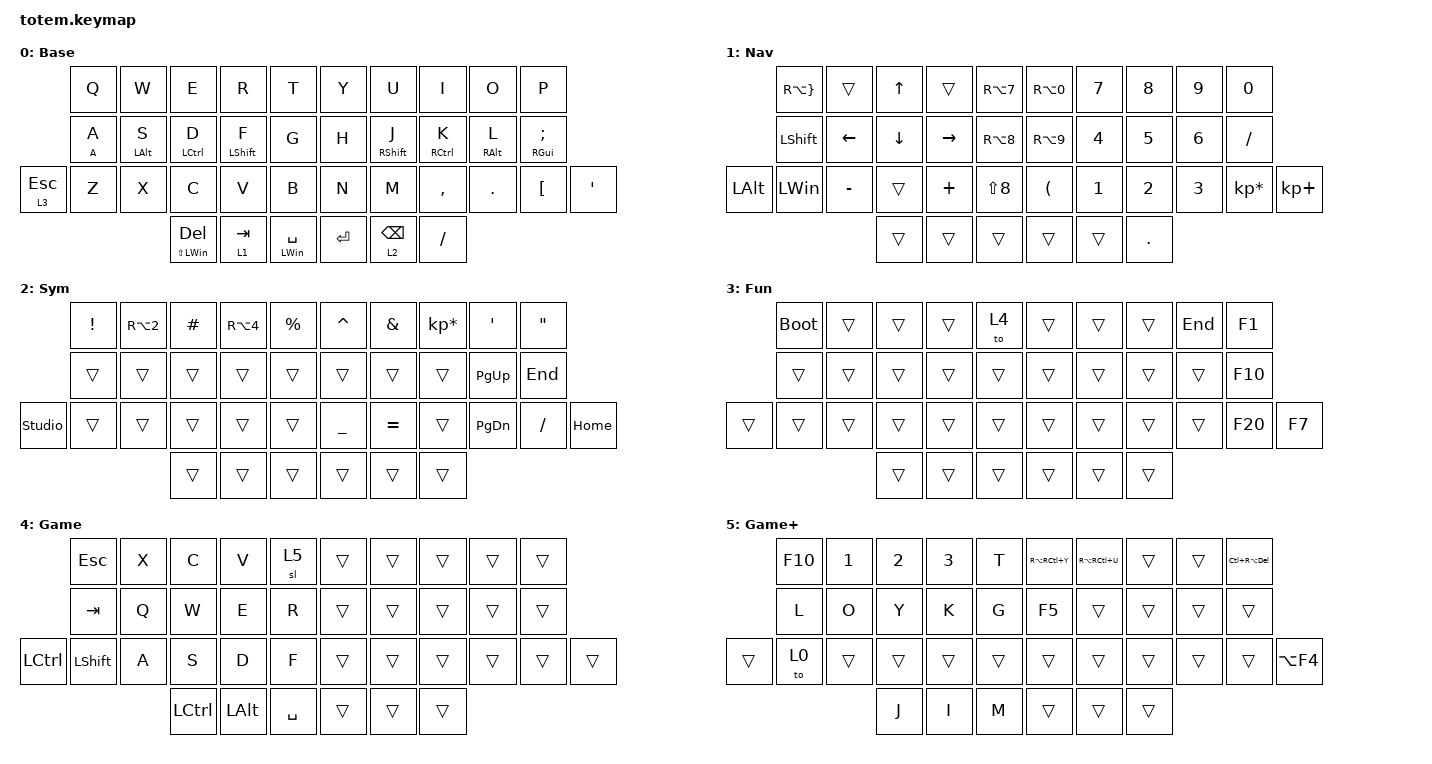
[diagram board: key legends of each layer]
//
//                                                        ▀▀▀▀▀     ▀▀▀▀▀          ▀▀█▀▀
//                                                        ▄▀▀▀▄  ▄  ▄▀▀▀▄  ▄  ▄▀▀▀▄  █  ▄▀▀▀▄
//                                                        █   █  █  █   █  █  █   █  █  █   █
//                                                         ▀▀▀   █   ▀▀▀   █   ▀▀▀   ▀   ▀▀▀
//                                                               █      ▄▄▄█▄▄▄    █   █  
//                                                               ▀      █  █  █     █▄█
//                                                             ▀▀▀▀▀    █  █  █      ▀
//                                                                      ▀  ▀  ▀
//
// ▄▄▄▄▄▄▄▄▄▄▄▄▄▄▄▄▄▄▄▄▄▄▄▄▄▄▄▄▄▄▄▄▄▄▄▄▄▄▄▄▄▄▄▄▄▄▄▄▄▄▄▄▄▄▄▄▄▄▄▄▄▄▄▄▄▄▄▄▄▄▄▄▄▄▄▄▄▄▄▄▄▄▄▄▄▄▄▄▄▄▄▄▄▄▄▄▄▄▄▄▄▄▄▄▄▄▄▄▄▄▄▄▄▄▄▄▄▄▄▄▄▄▄▄▄▄▄▄▄▄▄▄▄▄▄▄▄▄▄▄▄▄▄▄▄▄▄▄▄

#include <behaviors.dtsi>
#include <dt-bindings/zmk/keys.h>

#define Base        0
#define Nav         1
#define Sym         2
#define Fun         3
#define Game        4
#define Gameplus    5

&mt {
    quick-tap-ms = <100>;
    global-quick-tap;
    flavor = "tap-preferred";
    tapping-term-ms = <170>;
};

&lt {
    tapping-term-ms = <240>;
    flavor = "balanced";
    quick-tap-ms = <150>;
};

/ {
    behaviors {
        hm: homerow_mods {
            compatible = "zmk,behavior-hold-tap";
            label = "HOMEROW_MODS";
            #binding-cells = <2>;
            flavor = "tap-preferred";
            tapping-term-ms = <400>;
            quick-tap-ms = <125>;
            global-quick-tap;
            bindings = <&kp>, <&kp>;
        };
    };

    combos { compatible = "zmk,combos"; };

    keymap {
        compatible = "zmk,keymap";

        Base {
            display-name = "Base";
            bindings = <
              &kp Q    &kp W       &kp E                 &kp R         &kp T                 &kp Y    &kp U        &kp I        &kp O       &kp P
              &hm A A  &hm LALT S  &hm LCTRL D           &hm LSHIFT F  &kp G                 &kp H    &hm RSHFT J  &hm RCTRL K  &hm RALT L  &hm RGUI SEMICOLON
&lt 3 ESCAPE  &kp Z    &kp X       &kp C                 &kp V         &kp B                 &kp N    &kp M        &kp COMMA    &kp DOT     &kp LEFT_BRACKET    &kp SINGLE_QUOTE
                                   &mt LS(LEFT_WIN) DEL  &lt 1 TAB     &hm LEFT_WIN SPACE    &kp RET  &lt 2 BSPC   &kp SLASH
            >;
        };

        Nav {
            display-name = "Nav";
            bindings = <
              &kp RA(RBRC)    &trans     &kp UP_ARROW  &trans     &kp RA(N7)    &kp RA(N0)            &kp NUMBER_7  &kp NUMBER_8  &kp NUMBER_9  &kp NUMBER_0
              &kp LEFT_SHIFT  &kp LEFT   &kp DOWN      &kp RIGHT  &kp RA(N8)    &kp RA(N9)            &kp NUMBER_4  &kp NUMBER_5  &kp NUMBER_6  &kp SLASH
&kp LEFT_ALT  &kp LEFT_WIN    &kp MINUS  &trans        &kp PLUS   &kp LS(N8)    &kp LEFT_PARENTHESIS  &kp NUMBER_1  &kp NUMBER_2  &kp NUMBER_3  &kp KP_MULTIPLY  &kp KP_PLUS
                                         &trans        &trans     &trans        &trans                &trans        &kp DOT
            >;
        };

        Sym {
            display-name = "Sym";
            bindings = <
                &kp EXCL  &kp RA(N2)  &kp HASH  &kp RA(N4)  &kp PERCENT    &kp CARET  &kp AMPERSAND  &kp KP_ASTERISK  &kp SQT       &kp DQT
                &trans    &trans      &trans    &trans      &trans         &trans     &trans         &trans           &kp PAGE_UP   &kp END
&studio_unlock  &trans    &trans      &trans    &trans      &trans         &kp UNDER  &kp EQUAL      &trans           &kp PAGE_DOWN  &kp SLASH   &kp HOME
                                      &trans    &trans      &trans         &trans     &trans         &trans
            >;
        };

        Fun {
            display-name = "Fun";
            bindings = <
        &bootloader  &trans  &trans  &trans  &to 4     &trans  &trans  &trans  &kp END  &kp F1
        &trans       &trans  &trans  &trans  &trans    &trans  &trans  &trans  &trans   &kp F10
&trans  &trans       &trans  &trans  &trans  &trans    &trans  &trans  &trans  &trans   &kp F20  &kp F7
                             &trans  &trans  &trans    &trans  &trans  &trans
            >;
        };

        Gaming {
            display-name = "Game";
            bindings = <
           &kp ESC         &kp X  &kp C      &kp V         &sl 5        &trans  &trans  &trans  &trans  &trans
           &kp TAB         &kp Q  &kp W      &kp E         &kp R        &trans  &trans  &trans  &trans  &trans
&kp LCTRL  &kp LEFT_SHIFT  &kp A  &kp S      &kp D         &kp F        &trans  &trans  &trans  &trans  &trans  &trans
                                  &kp LCTRL  &kp LEFT_ALT  &kp SPACE    &trans  &trans  &trans
            >;
        };

        Gaming+ {
            display-name = "Game+";
            bindings = <
        &kp F10  &kp NUMBER_1  &kp NUMBER_2  &kp NUMBER_3  &kp T     &kp RA(RC(Y))  &kp RA(RC(U))  &trans  &trans  &kp LC(RA(DEL))
        &kp L    &kp O         &kp Y         &kp K         &kp G     &kp F5         &trans         &trans  &trans  &trans
&trans  &to 0    &trans        &trans        &trans        &trans    &trans         &trans         &trans  &trans  &trans           &kp LA(F4)
                               &kp J         &kp I         &kp M     &trans         &trans         &trans
            >;
        };
    };
};
